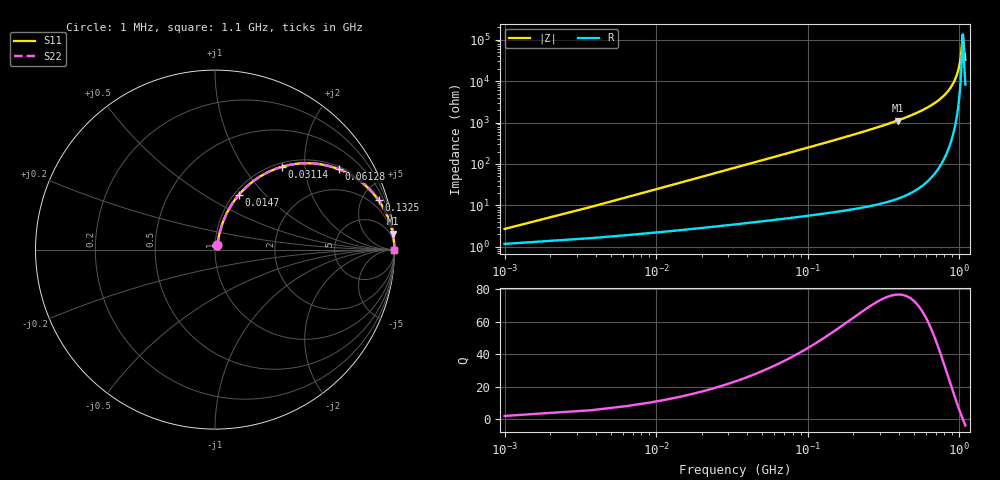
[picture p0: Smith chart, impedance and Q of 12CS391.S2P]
! Coilcraft 1206CS-391 Chip Inductor
! 29 July 2002
# MHZ S MA R 50
!Freq  MagS11  AngS11  MagS21  AngS21  MagS12  AngS12  MagS22  AngS22
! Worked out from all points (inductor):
!   403 points, 1 MHz to 1.1 GHz, reference 50 ohm
!   read as one part in series: L = 390 nH near 6.48 MHz
!   highest Q = 76.9 at 392.8 MHz (marker M1), where L = 452 nH
!   self-resonance near 1.056 GHz
!   S11 on the Smith chart (normalised r, x): 1 MHz: 1.02, +0.05; 14.7 MHz: 1.05, +0.72; 31.14 MHz: 1.07, +1.53; 61.28 MHz: 1.09, +3.01; 132.5 MHz: 1.13, +6.60; 1.1 GHz: open
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1  0.02689 62.8  0.988 -1.4  0.988 -1.4  0.02689 62.8
9.22  0.2169 72.0  0.9556 -12.5  0.9556 -12.5  0.2169 72.0
14.7  0.3323 66.6  0.9199 -19.4  0.9199 -19.4  0.3323 66.6
22.92  0.4795 58.3  0.8521 -28.6  0.8521 -28.6  0.4795 58.3
31.14  0.5947 51.0  0.7779 -36.4  0.7779 -36.4  0.5947 51.0
61.28  0.822 33.0  0.5453 -55.2  0.5453 -55.2  0.822 33.0
91.42  0.9063 23.7  0.4014 -65.0  0.4014 -65.0  0.9063 23.7
132.52  0.9518 16.8  0.2885 -72.1  0.2885 -72.1  0.9518 16.8
184.58  0.9745 12.1  0.2089 -77.0  0.2089 -77.0  0.9745 12.1
368.16  0.994 5.6  0.09684 -83.7  0.09684 -83.7  0.994 5.6
392.82  0.9949 5.1  0.08911 -84.1  0.08911 -84.1  0.9949 5.1
551.74  0.9978 3.1  0.05374 -86.1  0.05374 -86.1  0.9978 3.1
735.32  0.9989 1.6  0.02868 -87.0  0.02868 -87.0  0.9989 1.6
839.44  0.9992 1.0  0.01802 -86.9  0.01802 -86.9  0.9992 1.0
918.9  0.9993 0.6  0.01094 -85.8  0.01094 -85.8  0.9993 0.6
970.96  0.9993 0.4  0.006681 -83.6  0.006681 -83.6  0.9993 0.4
1006.58  0.9993 0.2  0.003929 -79.2  0.003929 -79.2  0.9993 0.2
1028.5  0.9993 0.1  0.00232 -71.4  0.00232 -71.4  0.9993 0.1
1055.9  0.9992 0.0  0.0007729 -13.0  0.0007729 -13.0  0.9992 0.0
1064.12  0.9992 -0.0  0.0008684 29.1  0.0008684 29.1  0.9992 -0.0
1083.3  0.9992 -0.1  0.001958 66.7  0.001958 66.7  0.9992 -0.1
1100  0.9992 -0.2  0.00308 75.1  0.00308 75.1  0.9992 -0.2
